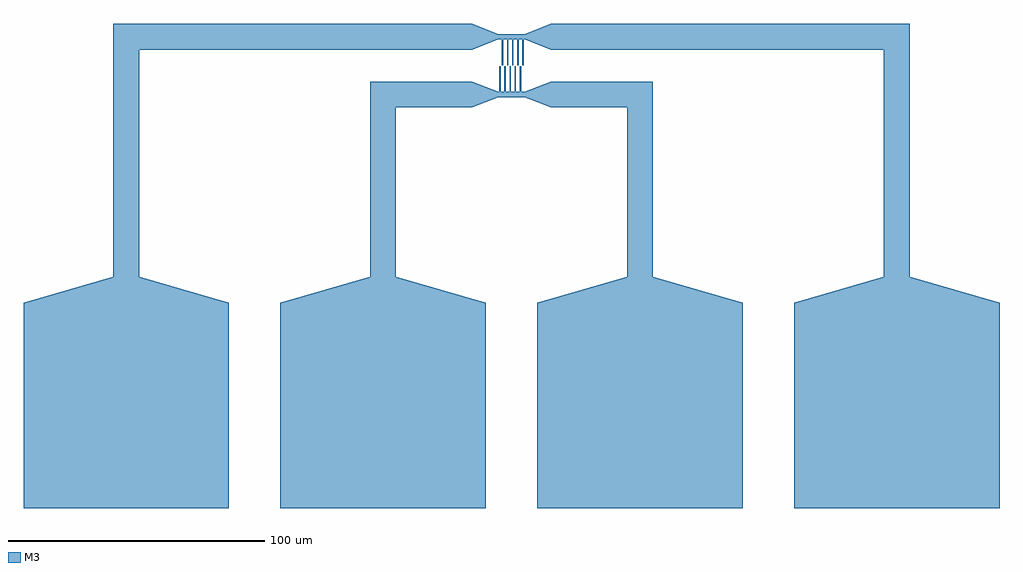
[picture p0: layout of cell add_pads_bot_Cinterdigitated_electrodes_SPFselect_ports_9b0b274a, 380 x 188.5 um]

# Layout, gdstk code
from math import pi, radians
import gdstk
lib = gdstk.Library(unit=1e-6, precision=1e-09)
def R(c, l, rs):  # rectangles x0, y0, x1, y1
    for r in rs: c.add(gdstk.rectangle(r[:2], r[2:], *l))
def A(c, l, x, y, w, h, nx, ny, dx, dy):  # array of equal rectangles
    R(c, l, [(x+i*dx, y+j*dy, x+i*dx+w, y+j*dy+h) for i in range(nx) for j in range(ny)])
def P(c, l, *ps):  # polygons
    for p in ps: c.add(gdstk.Polygon(p, *l))
M3 = (49, 0)

interdigitated_electrode = lib.new_cell('interdigitated_electrodes_NF10_FW0p5_FL10_FG0p5_BW2_BLN_4b4f913b')
A(interdigitated_electrode, M3, -4.75, -10.25, 0.5, 10, 5, 1, 2, 0)
A(interdigitated_electrode, M3, -3.75, 0.25, 0.5, 10, 5, 1, 2, 0)
R(interdigitated_electrode, M3, [(-5.25,-12.25,5.25,-10.25), (-5.25,10.25,5.25,12.25)])

pad_rectangular_spad_siz = lib.new_cell('pad_rectangular_Spad_size_LMTOP_BLNone_BONone_PI0_PO0_P_1a740d15')
R(pad_rectangular_spad_siz, M3, [(-40,-40,40,40)])

taper_electrical_l10_w2_ = lib.new_cell('taper_electrical_L10_W2_W10_LNone_PNone_WTPTrue_CSmetal_2eb54bb9')
P(taper_electrical_l10_w2_, M3, [(10,-5),(0,-1),(0,1),(10,5)])

taper_electrical_l10_w80 = lib.new_cell('taper_electrical_L10_W80_W10_LNone_PNone_WTPTrue_CSmeta_9935f84b')
P(taper_electrical_l10_w80, M3, [(0,-40),(0,40),(10,5),(10,-5)])

wire_corner_csmetal_rout = lib.new_cell('wire_corner_CSmetal_routing_PNe1_e2_PTelectrical_electr_83412a9d')
R(wire_corner_csmetal_rout, M3, [(-5,-5,5,5)])

straight_l129p75_n2_csme = lib.new_cell('straight_L129p75_N2_CSmetal_routing_W10')
R(straight_l129p75_n2_csme, M3, [(0,-5,129.75,5)])

straight_l88p5_n2_csmeta = lib.new_cell('straight_L88p5_N2_CSmetal_routing_W10')
R(straight_l88p5_n2_csmeta, M3, [(0,-5,88.5,5)])

straight_l29p75_n2_csmet = lib.new_cell('straight_L29p75_N2_CSmetal_routing_W10')
R(straight_l29p75_n2_csmet, M3, [(0,-5,29.75,5)])

straight_l66_n2_csmetal_ = lib.new_cell('straight_L66_N2_CSmetal_routing_W10')
R(straight_l66_n2_csmetal_, M3, [(0,-5,66,5)])

add_pads_bot_cinterdigit = lib.new_cell('add_pads_bot_Cinterdigitated_electrodes_SPFselect_ports_9b0b274a')
add_pads_bot_cinterdigit.add(gdstk.Reference(interdigitated_electrode, (0,0)))
add_pads_bot_cinterdigit.add(gdstk.Reference(pad_rectangular_spad_siz, (-150,-132.25), rotation=3*pi/2))
add_pads_bot_cinterdigit.add(gdstk.Reference(pad_rectangular_spad_siz, (-50,-132.25), rotation=3*pi/2))
add_pads_bot_cinterdigit.add(gdstk.Reference(pad_rectangular_spad_siz, (50,-132.25), rotation=3*pi/2))
add_pads_bot_cinterdigit.add(gdstk.Reference(pad_rectangular_spad_siz, (150,-132.25), rotation=3*pi/2))
add_pads_bot_cinterdigit.add(gdstk.Reference(taper_electrical_l10_w2_, (-5.25,-11.25), rotation=pi))
add_pads_bot_cinterdigit.add(gdstk.Reference(taper_electrical_l10_w2_, (5.25,-11.25)))
add_pads_bot_cinterdigit.add(gdstk.Reference(taper_electrical_l10_w2_, (-5.25,11.25), rotation=pi))
add_pads_bot_cinterdigit.add(gdstk.Reference(taper_electrical_l10_w2_, (5.25,11.25)))
add_pads_bot_cinterdigit.add(gdstk.Reference(taper_electrical_l10_w80, (-150,-92.25), rotation=pi/2))
add_pads_bot_cinterdigit.add(gdstk.Reference(taper_electrical_l10_w80, (-50,-92.25), rotation=pi/2))
add_pads_bot_cinterdigit.add(gdstk.Reference(taper_electrical_l10_w80, (50,-92.25), rotation=pi/2))
add_pads_bot_cinterdigit.add(gdstk.Reference(taper_electrical_l10_w80, (150,-92.25), rotation=pi/2))
add_pads_bot_cinterdigit.add(gdstk.Reference(interdigitated_electrode, (0,0)))
add_pads_bot_cinterdigit.add(gdstk.Reference(wire_corner_csmetal_rout, (-150,11.25), rotation=pi/2, x_reflection=True))
add_pads_bot_cinterdigit.add(gdstk.Reference(straight_l129p75_n2_csme, (-15.25,11.25), rotation=pi))
add_pads_bot_cinterdigit.add(gdstk.Reference(straight_l88p5_n2_csmeta, (-150,6.25), rotation=3*pi/2))
add_pads_bot_cinterdigit.add(gdstk.Reference(wire_corner_csmetal_rout, (-50,-11.25), rotation=pi/2, x_reflection=True))
add_pads_bot_cinterdigit.add(gdstk.Reference(straight_l29p75_n2_csmet, (-15.25,-11.25), rotation=pi))
add_pads_bot_cinterdigit.add(gdstk.Reference(straight_l66_n2_csmetal_, (-50,-16.25), rotation=3*pi/2))
add_pads_bot_cinterdigit.add(gdstk.Reference(wire_corner_csmetal_rout, (50,-11.25), rotation=pi/2))
add_pads_bot_cinterdigit.add(gdstk.Reference(straight_l29p75_n2_csmet, (15.25,-11.25)))
add_pads_bot_cinterdigit.add(gdstk.Reference(straight_l66_n2_csmetal_, (50,-16.25), rotation=3*pi/2))
add_pads_bot_cinterdigit.add(gdstk.Reference(wire_corner_csmetal_rout, (150,11.25), rotation=pi/2))
add_pads_bot_cinterdigit.add(gdstk.Reference(straight_l129p75_n2_csme, (15.25,11.25)))
add_pads_bot_cinterdigit.add(gdstk.Reference(straight_l88p5_n2_csmeta, (150,6.25), rotation=3*pi/2))

lib.write_gds('add_pads_bot_Cinterdigitated_electrodes_SPFselect_ports_9b0b274a.gds')
